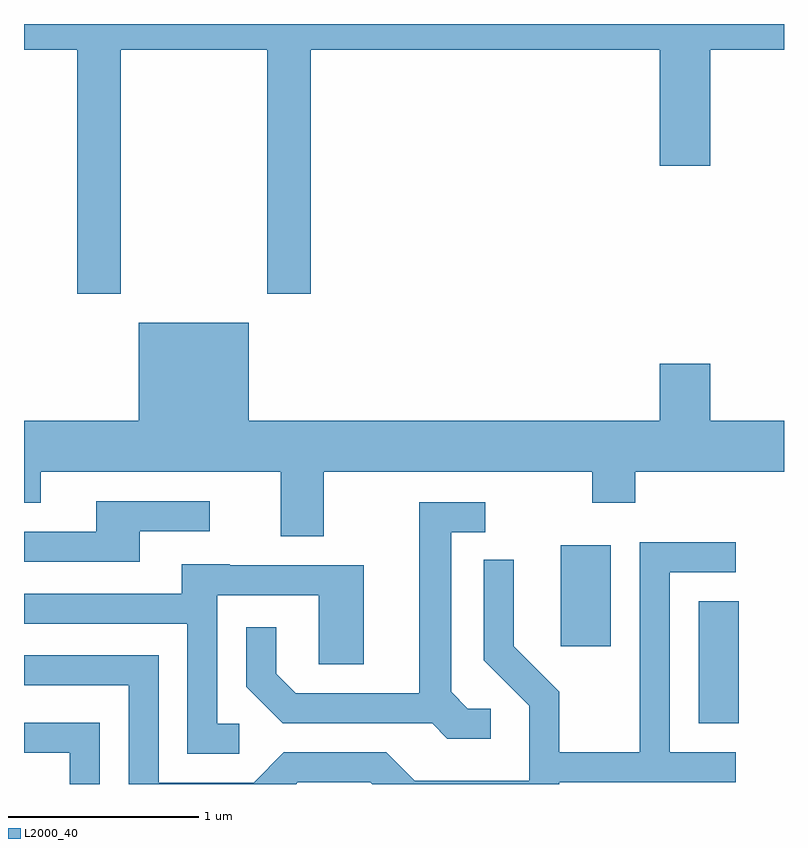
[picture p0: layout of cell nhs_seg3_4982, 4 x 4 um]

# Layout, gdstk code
import gdstk
lib = gdstk.Library(unit=1e-6, precision=1e-09)
def R(c, l, rs):  # rectangles x0, y0, x1, y1
    for r in rs: c.add(gdstk.rectangle(r[:2], r[2:], *l))
def P(c, l, *ps):  # polygons
    for p in ps: c.add(gdstk.Polygon(p, *l))
L2000_40 = (2000, 40)

nhs_seg3_4982 = lib.new_cell('nhs_seg3_4982')
R(nhs_seg3_4982, L2000_40, [(335.161,1160.211,335.374,1160.854), (334.436,1160.616,334.699,1161.149)])
P(nhs_seg3_4982, L2000_40, [(332.119,1163.756),(332.891,1163.756),(332.891,1162.471),(333.119,1162.471),(333.119,1163.756),(334.956,1163.756),(334.956,1163.146),(335.224,1163.146),(335.224,1163.756),(335.611,1163.756),(335.611,1163.892),(331.611,1163.892),(331.611,1163.756),(331.891,1163.756),(331.891,1162.471),(332.119,1162.471)],
  [(333.189,1161.536),(334.601,1161.536),(334.601,1161.371),(334.829,1161.371),(334.829,1161.536),(335.611,1161.536),(335.611,1161.804),(335.224,1161.804),(335.224,1162.104),(334.956,1162.104),(334.956,1161.804),(332.794,1161.804),(332.794,1162.319),(332.216,1162.319),(332.216,1161.804),(331.611,1161.804),(331.611,1161.371),(331.699,1161.371),(331.699,1161.536),(332.961,1161.536),(332.961,1161.196),(333.189,1161.196)],
  [(332.219,1161.221),(332.588,1161.221),(332.588,1161.379),(331.991,1161.379),(331.991,1161.219),(331.611,1161.219),(331.611,1161.061),(332.219,1161.061)],
  [(334.068,1160.289),(333.947,1160.289),(333.859,1160.377),(333.859,1161.216),(334.038,1161.216),(334.038,1161.374),(333.691,1161.374),(333.691,1160.369),(333.042,1160.369),(332.939,1160.472),(332.939,1160.718),(332.781,1160.718),(332.781,1160.404),(332.974,1160.211),(333.759,1160.211),(333.839,1160.131),(334.068,1160.131)],
  [(333.052,1159.901),(333.434,1159.901),(333.443,1159.892),(334.429,1159.892),(334.429,1159.901),(335.358,1159.901),(335.358,1160.059),(335.009,1160.059),(335.009,1161.006),(335.358,1161.006),(335.358,1161.164),(334.851,1161.164),(334.851,1160.059),(334.429,1160.059),(334.429,1160.377),(334.189,1160.617),(334.189,1161.073),(334.031,1161.073),(334.031,1160.544),(334.271,1160.304),(334.271,1159.909),(333.667,1159.909),(333.517,1160.059),(332.979,1160.059),(332.819,1159.899),(332.319,1159.899),(332.319,1160.569),(331.611,1160.569),(331.611,1160.411),(332.161,1160.411),(332.161,1159.892),(333.043,1159.892)],
  [(332.743,1160.209),(332.629,1160.209),(332.629,1160.886),(333.161,1160.886),(333.161,1160.521),(333.399,1160.521),(333.399,1161.044),(332.695,1161.044),(332.695,1161.049),(332.441,1161.049),(332.441,1160.894),(331.611,1160.894),(331.611,1160.736),(332.471,1160.736),(332.471,1160.051),(332.743,1160.051)],
  [(332.009,1160.214),(331.611,1160.214),(331.611,1160.056),(331.851,1160.056),(331.851,1159.892),(332.009,1159.892)])

lib.write_gds('nhs_seg3_4982.gds')
